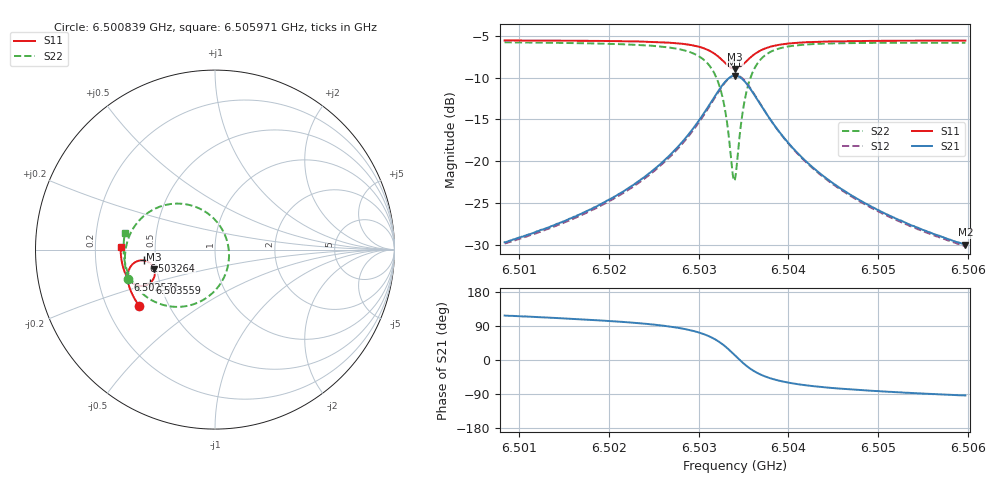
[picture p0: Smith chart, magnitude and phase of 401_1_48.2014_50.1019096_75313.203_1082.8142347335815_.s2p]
#  HZ  S  RI  R  50.00
! Rohde & Schwarz Vector Network Analyzer
! Rohde-Schwarz,ZNB20-2Port,1311601062101988,3.16
! Created: UTC 3/20/2024, 11:54:01 AM
! freq[Hz]  re:S11  im:S11  re:S21  im:S21  re:S12  im:S12  re:S22  im:S22
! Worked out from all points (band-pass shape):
!   401 points, 6.500839 GHz to 6.505971 GHz, reference 50 ohm
!   highest |S21| = -9.77 dB at 6.503405 GHz (marker M1); lowest = -30.0 dB at 6.505971 GHz (marker M2)
!   |S21| within 3 dB of the highest: 6.503149 GHz to 6.503662 GHz (513.1 kHz wide, 0.00789 % of centre)
!   lowest |S11| = -9.0 dB at 6.503405 GHz (marker M3), VSWR 2.10, Z = 24.2 - j6.05 ohm
!   |S11| at or under -10 dB: nowhere
!   |S22| runs from -22.3 to -5.8 dB; largest |S21 - S12| = 0.011
!   S11 on the Smith chart (normalised r, x): 6.500839 GHz: 0.34, -0.30; 6.502571 GHz: 0.33, -0.15; 6.503264 GHz: 0.43, -0.06; 6.503559 GHz: 0.44, -0.20; 6.505971 GHz: 0.31, +0.01
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6.500839e9  -0.4211 -0.316  -0.0151 0.0292  -0.0134 0.0294  -0.4863 -0.1645
6.5016985e9  -0.4588 -0.2535  -0.0145 0.0465  -0.0121 0.0462  -0.5013 -0.075
6.5021732e9  -0.4758 -0.212  -0.0119 0.0657  -0.00877 0.0647  -0.4993 -0.00902
6.5025581e9  -0.4855 -0.1703  -0.00309 0.0946  0.000478 0.0924  -0.481 0.0659
6.5025709e9  -0.4856 -0.1686  -0.00255 0.096  0.00104 0.0938  -0.48 0.0691
6.5028146e9  -0.4852 -0.1336  0.0155 0.1289  0.0193 0.1253  -0.4418 0.1385
6.5029942e9  -0.4737 -0.1003  0.0499 0.165  0.0531 0.1597  -0.3742 0.2044
6.503161e9  -0.4392 -0.0673  0.127 0.1985  0.128 0.192  -0.233 0.2555
6.5032637e9  -0.3969 -0.0603  0.2117 0.1899  0.2119 0.1847  -0.0856 0.2285
6.503315e9  -0.3715 -0.0687  0.2597 0.1624  0.2604 0.1579  -0.00555 0.172
6.5033791e9  -0.3449 -0.0947  0.3073 0.0995  0.3096 0.0948  0.0662 0.0514
6.5034048e9  -0.3386 -0.1091  0.3176 0.0678  0.3207 0.0621  0.0775 -0.00805
6.5034304e9  -0.3355 -0.1246  0.3213 0.0344  0.3247 0.0279  0.076 -0.0686
6.5034946e9  -0.3423 -0.1614  0.3039 -0.0426  0.3059 -0.0523  0.0217 -0.2024
6.5035587e9  -0.3633 -0.187  0.2616 -0.0963  0.2608 -0.1073  -0.0733 -0.2848
6.5036614e9  -0.4023 -0.2021  0.188 -0.1326  0.1829 -0.1417  -0.2214 -0.319
6.5038281e9  -0.448 -0.1925  0.1074 -0.1297  0.1005 -0.1346  -0.3669 -0.2733
6.5040077e9  -0.4753 -0.1712  0.0633 -0.1102  0.0572 -0.1123  -0.4383 -0.2093
6.5042643e9  -0.4959 -0.1411  0.0336 -0.0863  0.029 -0.0867  -0.4813 -0.1378
6.5046492e9  -0.5114 -0.1014  0.0149 -0.0634  0.0117 -0.0631  -0.5036 -0.0634
6.5051239e9  -0.5211 -0.0578  0.00502 -0.0471  0.00277 -0.0465  -0.5099 0.0022
6.5059706e9  -0.5257 0.0135  -0.00196 -0.0317  -0.00333 -0.0309  -0.5017 0.0906
